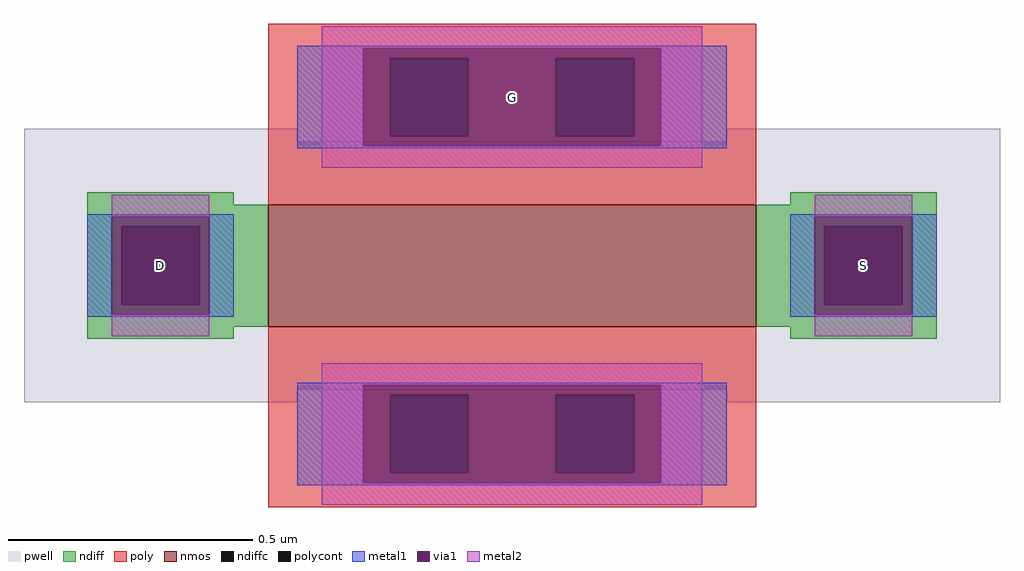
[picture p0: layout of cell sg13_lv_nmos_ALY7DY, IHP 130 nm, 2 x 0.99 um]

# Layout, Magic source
magic
tech ihp-sg13g2
magscale 1 2
<< pwell >>
rect -200 51 -88 56
rect 88 51 200 56
rect -200 -51 200 51
rect -200 -56 -88 -51
rect 88 -56 200 -51
<< nmos >>
rect -100 -25 100 25
<< ndiff >>
rect -174 25 -114 30
rect 114 25 174 30
rect -174 16 -100 25
rect -174 -16 -160 16
rect -128 -16 -100 16
rect -174 -25 -100 -16
rect 100 16 174 25
rect 100 -16 128 16
rect 160 -16 174 16
rect 100 -25 174 -16
rect -174 -30 -114 -25
rect 114 -30 174 -25
<< ndiffc >>
rect -160 -16 -128 16
rect 128 -16 160 16
<< poly >>
rect -100 85 100 99
rect -100 53 -50 85
rect -18 53 18 85
rect 50 53 100 85
rect -100 25 100 53
rect -100 -53 100 -25
rect -100 -85 -50 -53
rect -18 -85 18 -53
rect 50 -85 100 -53
rect -100 -99 100 -85
<< polycont >>
rect -50 53 -18 85
rect 18 53 50 85
rect -50 -85 -18 -53
rect 18 -85 50 -53
<< metal1 >>
rect -88 89 88 90
rect -88 49 -61 89
rect 61 49 88 89
rect -88 48 88 49
rect -174 20 -114 21
rect -174 -20 -164 20
rect -124 -20 -114 20
rect -174 -21 -114 -20
rect 114 20 174 21
rect 114 -20 124 20
rect 164 -20 174 20
rect 114 -21 174 -20
rect -88 -49 88 -48
rect -88 -89 -61 -49
rect 61 -89 88 -49
rect -88 -90 88 -89
<< via1 >>
rect -61 85 61 89
rect -61 53 -50 85
rect -50 53 -18 85
rect -18 53 18 85
rect 18 53 50 85
rect 50 53 61 85
rect -61 49 61 53
rect -164 16 -124 20
rect -164 -16 -160 16
rect -160 -16 -128 16
rect -128 -16 -124 16
rect -164 -20 -124 -16
rect 124 16 164 20
rect 124 -16 128 16
rect 128 -16 160 16
rect 160 -16 164 16
rect 124 -20 164 -16
rect -61 -53 61 -49
rect -61 -85 -50 -53
rect -50 -85 -18 -53
rect -18 -85 18 -53
rect 18 -85 50 -53
rect 50 -85 61 -53
rect -61 -89 61 -85
<< metal2 >>
rect -78 89 78 98
rect -78 49 -61 89
rect 61 49 78 89
rect -78 40 78 49
rect -164 20 -124 29
rect -164 -29 -124 -20
rect 124 20 164 29
rect 124 -29 164 -20
rect -78 -49 78 -40
rect -78 -89 -61 -49
rect 61 -89 78 -49
rect -78 -98 78 -89
<< labels >>
rlabel metal1 s -144 0 -144 0 4 D
rlabel metal1 s 144 0 144 0 4 S
rlabel metal1 s 0 69 0 69 4 G
<< end >>
